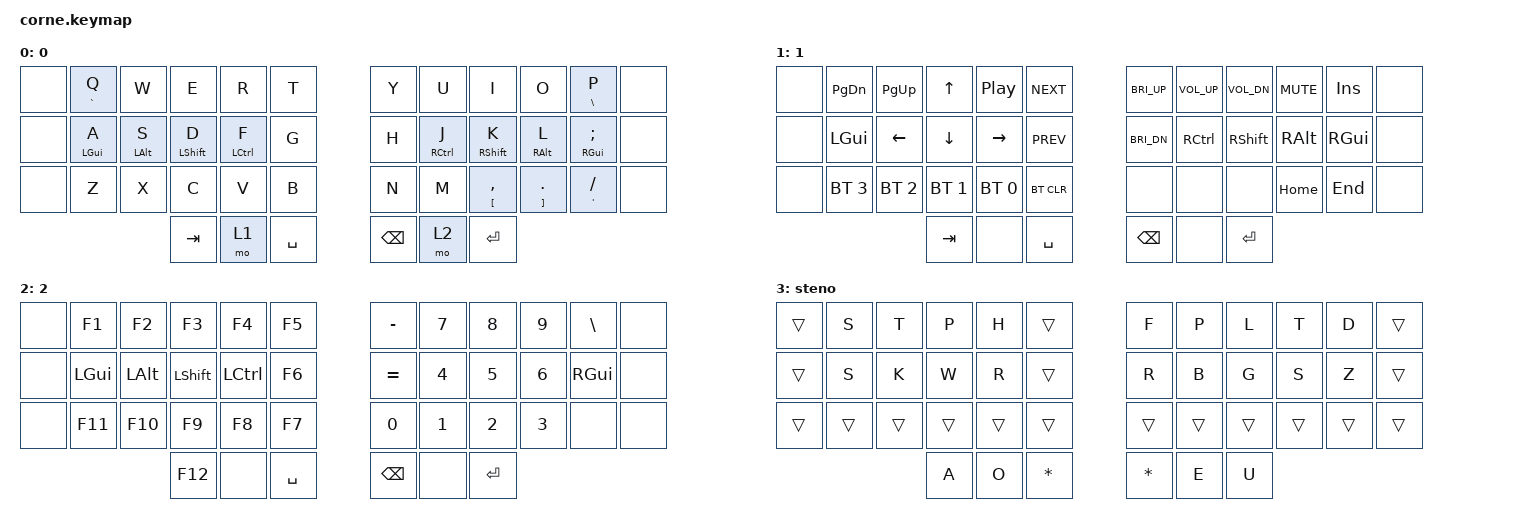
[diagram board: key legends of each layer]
/*
 * Copyright (c) 2020 The ZMK Contributors
 *
 * SPDX-License-Identifier: MIT
 */

#include <behaviors.dtsi>
#include <dt-bindings/zmk/bt.h>
#include <dt-bindings/zmk/keys.h>

#define DEFAULT_L 0
#define SYMBOLS_L 1
#define ARROWS_L  2
#define NUMBERS_L 3

/ {
    behaviors {
        hm: homerow_mods {
            compatible = "zmk,behavior-hold-tap";
            label = "HOMEROW_MODS";
            #binding-cells = <2>;
            tapping-term-ms = <300>;
            quick-tap-ms = <200>;
            flavor = "tap-preferred";
            bindings = <&kp>, <&kp>;
        };
    };

    combos {
        compatible = "zmk,combos";

        escape {
            bindings = <&kp ESCAPE>;
            key-positions = <3 4>;
        };

        capslock {
            bindings = <&kp CLCK>;
            key-positions = <4 5>;
        };

        tab {
            bindings = <&kp TAB>;
            key-positions = <2 3>;
        };

        backspace {
            bindings = <&kp BACKSPACE>;
            key-positions = <7 8>;
        };

        delete {
            bindings = <&kp DELETE>;
            key-positions = <8 9>;
        };

        prtsc {
            bindings = <&kp PRINTSCREEN>;
            key-positions = <28 29>;
        };

        minus {
            bindings = <&kp MINUS>;
            key-positions = <27 28>;
        };

        sys_reset_left {
            bindings = <&sys_reset>;
            key-positions = <1 29>;
        };

        sys_reset_right {
            bindings = <&sys_reset>;
            key-positions = <30 10>;
        };

        equal {
            bindings = <&kp EQUAL>;
            key-positions = <31 32>;
        };

        enter {
            bindings = <&kp ENTER>;
            key-positions = <38 28>;
        };

        steno_on {
            bindings = <&tog 3>;
            key-positions = <25 26 27 28>;
        };
    };

    keymap {
        compatible = "zmk,keymap";

        default_layer {
            label = "0";
            bindings = <
&none  &mt GRAVE Q  &kp W       &kp E         &kp R        &kp T        &kp Y          &kp U        &kp I           &kp O         &mt BSLH P     &none
&none  &mt LGUI A   &mt LALT S  &mt LSHIFT D  &mt LCTRL F  &kp G        &kp H          &mt RCTRL J  &mt RSHIFT K    &mt RALT L    &mt RGUI SEMI  &none
&none  &kp Z        &kp X       &kp C         &kp V        &kp B        &kp N          &kp M        &mt LBKT COMMA  &mt RBKT DOT  &mt SQT FSLH   &none
                                &kp TAB       &mo 1        &kp SPACE    &kp BACKSPACE  &mo 2        &kp ENTER
            >;
        };

        arrow_layer {
            label = "1";
            bindings = <
&none  &kp PG_DN     &kp PG_UP     &kp UP        &kp C_PP      &kp C_NEXT    &kp C_BRI_UP   &kp C_VOL_UP  &kp C_VOL_DN  &kp K_MUTE  &kp INS   &none
&none  &kp LGUI      &kp LEFT      &kp DOWN      &kp RIGHT     &kp C_PREV    &kp C_BRI_DN   &kp RCTRL     &kp RSHFT     &kp RALT    &kp RGUI  &none
&none  &bt BT_SEL 3  &bt BT_SEL 2  &bt BT_SEL 1  &bt BT_SEL 0  &bt BT_CLR    &none          &none         &none         &kp HOME    &kp END   &none
                                   &kp TAB       &none         &kp SPACE     &kp BACKSPACE  &none         &kp ENTER
            >;
        };

        number_layer {
            label = "2";
            bindings = <
&none  &kp F1    &kp F2    &kp F3     &kp F4     &kp F5       &kp MINUS      &kp N7        &kp N8        &kp N9        &kp BSLH  &none
&none  &kp LGUI  &kp LALT  &kp LSHFT  &kp LCTRL  &kp F6       &kp EQUAL      &kp NUMBER_4  &kp N5        &kp NUMBER_6  &kp RGUI  &none
&none  &kp F11   &kp F10   &kp F9     &kp F8     &kp F7       &kp N0         &kp NUMBER_1  &kp NUMBER_2  &kp NUMBER_3  &none     &none
                           &kp F12    &none      &kp SPACE    &kp BACKSPACE  &none         &kp ENTER
            >;
        };

        steno {
            bindings = <
&trans  &kp S   &kp T   &kp P   &kp H   &trans          &kp F         &kp P   &kp L   &kp T   &kp D   &trans
&trans  &kp S   &kp K   &kp W   &kp R   &trans          &kp R         &kp B   &kp G   &kp S   &kp Z   &trans
&trans  &trans  &trans  &trans  &trans  &trans          &trans        &trans  &trans  &trans  &trans  &trans
                        &kp A   &kp O   &kp ASTERISK    &kp ASTERISK  &kp E   &kp U
            >;
        };
    };
};
